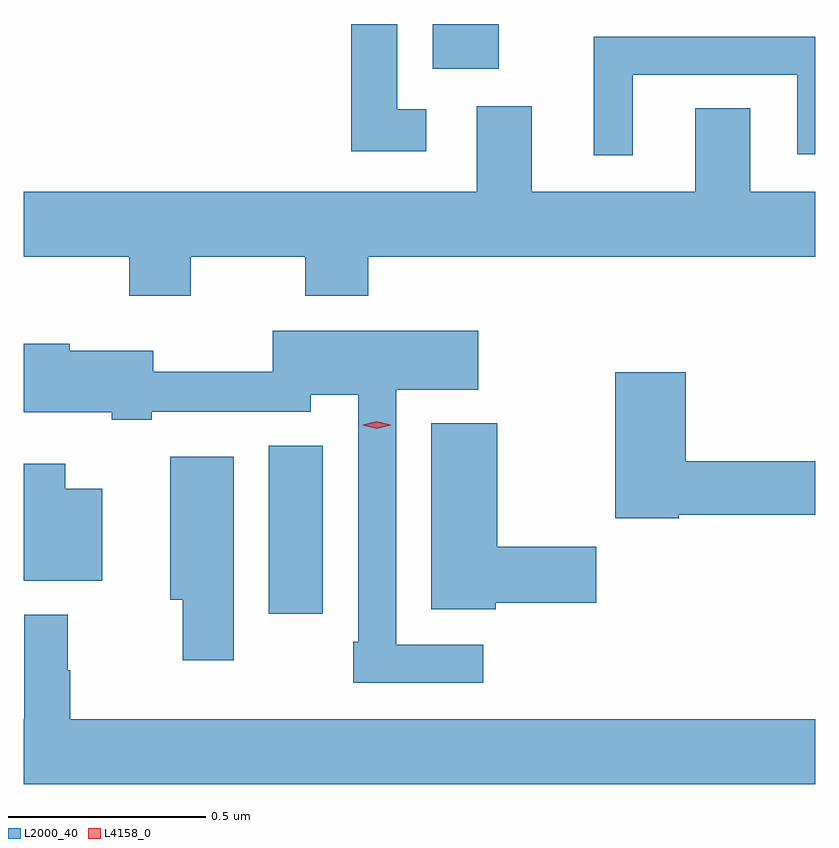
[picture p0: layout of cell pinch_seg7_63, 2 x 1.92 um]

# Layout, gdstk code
import gdstk
lib = gdstk.Library(unit=1e-6, precision=1e-09)
def R(c, l, rs):  # rectangles x0, y0, x1, y1
    for r in rs: c.add(gdstk.rectangle(r[:2], r[2:], *l))
def P(c, l, *ps):  # polygons
    for p in ps: c.add(gdstk.Polygon(p, *l))
L2000_40 = (2000, 40)
L4158_0 = (4158, 0)

pinch_seg7_63 = lib.new_cell('pinch_seg7_63')
R(pinch_seg7_63, L2000_40, [(889.292,1042.338,889.429,1042.763), (889.706,1043.715,889.873,1043.828)])
P(pinch_seg7_63, L2000_40, [(889.69,1043.613),(889.617,1043.613),(889.617,1043.828),(889.501,1043.828),(889.501,1043.507),(889.69,1043.507)],
  [(890.212,1043.7),(890.627,1043.7),(890.627,1043.499),(890.673,1043.499),(890.673,1043.796),(890.113,1043.796),(890.113,1043.496),(890.212,1043.496)],
  [(890.369,1043.615),(890.369,1043.404),(889.957,1043.404),(889.957,1043.62),(889.817,1043.62),(889.817,1043.404),(888.673,1043.404),(888.673,1043.24),(888.94,1043.24),(888.94,1043.141),(889.095,1043.141),(889.095,1043.24),(889.384,1043.24),(889.384,1043.141),(889.544,1043.141),(889.544,1043.24),(890.673,1043.24),(890.673,1043.404),(890.509,1043.404),(890.509,1043.615)],
  [(889.834,1042.26),(889.614,1042.26),(889.614,1042.904),(889.822,1042.904),(889.822,1043.053),(889.302,1043.053),(889.302,1042.949),(889,1042.949),(889,1043.002),(888.789,1043.002),(888.789,1043.02),(888.673,1043.02),(888.673,1042.847),(888.896,1042.847),(888.896,1042.828),(888.996,1042.828),(888.996,1042.848),(889.398,1042.848),(889.398,1042.892),(889.518,1042.892),(889.518,1042.267),(889.506,1042.267),(889.506,1042.164),(889.834,1042.164)],
  [(890.328,1042.588),(890.673,1042.588),(890.673,1042.724),(890.345,1042.724),(890.345,1042.948),(890.167,1042.948),(890.167,1042.58),(890.328,1042.58)],
  [(889.866,1042.366),(890.119,1042.366),(890.119,1042.507),(889.87,1042.507),(889.87,1042.819),(889.703,1042.819),(889.703,1042.349),(889.866,1042.349)],
  [(889.204,1042.735),(889.043,1042.735),(889.043,1042.373),(889.075,1042.373),(889.075,1042.221),(889.204,1042.221)],
  [(888.871,1042.654),(888.778,1042.654),(888.778,1042.717),(888.673,1042.717),(888.673,1042.421),(888.871,1042.421)],
  [(890.673,1042.072),(888.791,1042.072),(888.791,1042.196),(888.784,1042.196),(888.784,1042.336),(888.674,1042.336),(888.674,1042.072),(888.673,1042.072),(888.673,1041.908),(890.673,1041.908)])
P(pinch_seg7_63, L4158_0, [(889.565,1042.805),(889.53,1042.814),(889.53,1042.815),(889.53,1042.815),(889.565,1042.825),(889.6,1042.815),(889.6,1042.815),(889.6,1042.814)])

lib.write_gds('pinch_seg7_63.gds')
